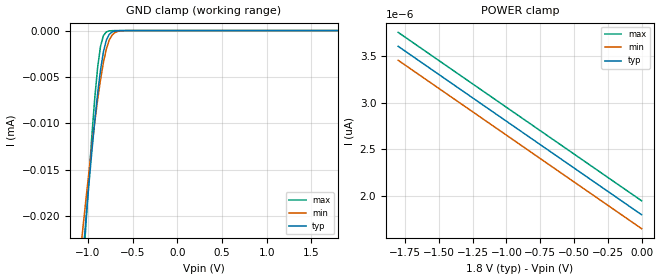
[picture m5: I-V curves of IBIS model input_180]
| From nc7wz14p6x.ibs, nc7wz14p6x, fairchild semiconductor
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[Model] input_180
Model_type Input
Vinh = 1.0V
Vinl = 0.56V
C_comp   0.25pF   0.25pF   0.27pF
[Voltage Range]   1.8V   1.65V   1.95V
[Temperature Range]   25.0   85.0   -40.0
[GND Clamp]
-1.8V     -120uA     -95.98uA   -154uA
-1.087V   -27.84uA   -24.07uA   -30.87uA
-1.055V   -23.99uA   -21.07uA   -25.73uA
-1.022V   -20.23uA   -18.13uA   -20.73uA
-957.6mV  -13.09uA   -12.53uA   -11.43uA
-892.8mV  -6.821uA   -7.49uA    -4.016uA
-860.4mV  -4.269uA   -5.305uA   -1.709uA
-828mV    -2.309uA   -3.45uA    -553.1nA
-795.6mV  -1.051uA   -2.012uA   -149.7nA
-730.8mV  -146.5nA   -482.5nA   -9.372nA
-633.6mV  -5.651nA   -35.05nA   -140.5pA
1.796V    1.796pA    0A         1.796pA
[POWER Clamp]
-1.8V     3.6pA      3.451pA    3.749pA
-1.589V   3.389pA    3.241pA    3.538pA
-747mV    2.547pA    2.398pA    2.696pA
-1.8mV    1.802pA    1.653pA    1.951pA
